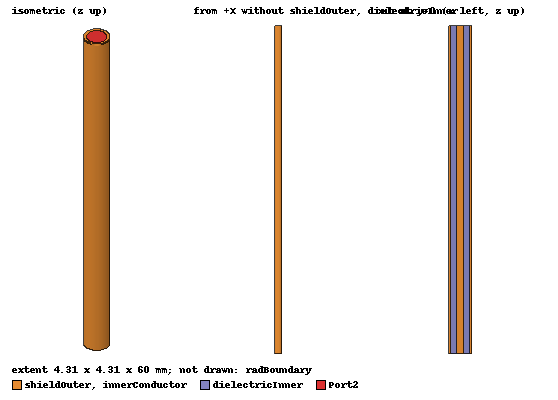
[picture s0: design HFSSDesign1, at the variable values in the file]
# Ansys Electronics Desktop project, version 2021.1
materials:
  vacuum: permittivity=1
  copper: permeability=0.999991 conductivity=58000000
  Arlon DiClad 880 (tm): permittivity=2.2 dielectric_loss_tangent=0.0009

design HFSSDesign1 (HFSS, DrivenModal, model units mm)
options: Calculate_Lossy_Dielectrics Save_Adaptive_support_files
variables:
  Dinner = 1.25mm
  len = 60mm
  Douter1 = 4.31mm
  Douter2 = 3.31mm
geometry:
  innerConductor [copper] = cylinder(axis=Z, base_centre=(0mm, 0mm, 0mm), radius=Dinner/2, height=len)
  shieldOuter [copper] = cylinder(axis=Z, base_centre=(0mm, 0mm, 0mm), radius=Douter1/2, height=len)
  dielectricInner [Arlon DiClad 880 (tm)] = cylinder(axis=Z, base_centre=(0mm, 0mm, 0mm), radius=Douter2/2, height=len)
  shieldInner_1 = dielectricInner.copy()
  shieldOuter.subtract(shieldInner_1)
  dielectricInnerConductor = cylinder(axis=Z, base_centre=(0mm, 0mm, 0mm), radius=Dinner/2, height=len)
  dielectricInner.subtract(dielectricInnerConductor)
  radBoundary [vacuum] = cylinder(axis=Z, base_centre=(0mm, 0mm, 0mm), radius=Douter1/2+0.1mm, height=len)
  Port1 = circle(normal=Z, centre=(0mm, 0mm, 0mm), radius=Douter2/2)
  Port2 = circle(normal=Z, centre=(0mm, 0mm, len), radius=Douter2/2)
  Line1 = polyline((Dinner, 0mm, 0mm) (Dinner, 0mm, 60mm))
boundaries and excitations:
  Rad1: Radiation Objects=radBoundary
  1: Wave Port Objects=Port1 NumModes=1 Modes{Mode1{IntLine{centre of Port1.face -> Port1.vertex(1 of 1)} CharImp=Zpi}}
  2: Lumped Port Objects=Port2 Modes{Mode1{IntLine{centre of Port2.face -> Port2.vertex(1 of 1)} CharImp=Zpi}} Impedance=0.001uOhm
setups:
  Setup1: HfssDriven Frequency=4GHz MaxDeltaS=0.02 MaximumPasses=15 MinimumPasses=1 MinimumConvergedPasses=1 PercentRefinement=30 BasisOrder=1 PortAccuracy=2
    sweep Sweep: 2GHz to 10GHz step 0.1GHz; Type=Fast SaveFields
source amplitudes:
  1:1: 1W 0deg
  2:1: 0W 0deg
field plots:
  Vector_E1: E Field on Setup1 : Sweep at Freq=10GHz Phase=0deg
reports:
  XY Plot 2: Mag_E vs Distance on Setup1 : Sweep [Freq=10GHz Phase=0deg]; markers m1 at 24mm, m2 at 29.4mm
  XY Plot 3: VSWR(1) vs Freq on Setup1 : Sweep
  XY Plot 4: im(Gamma(1)) vs Freq on Setup1 : Sweep
  S Parameter Plot 1: dB(S(1,1)), dB(S(2,1)), dB(S(1,2)), dB(S(2,2)) vs Freq on Setup1 : Sweep
